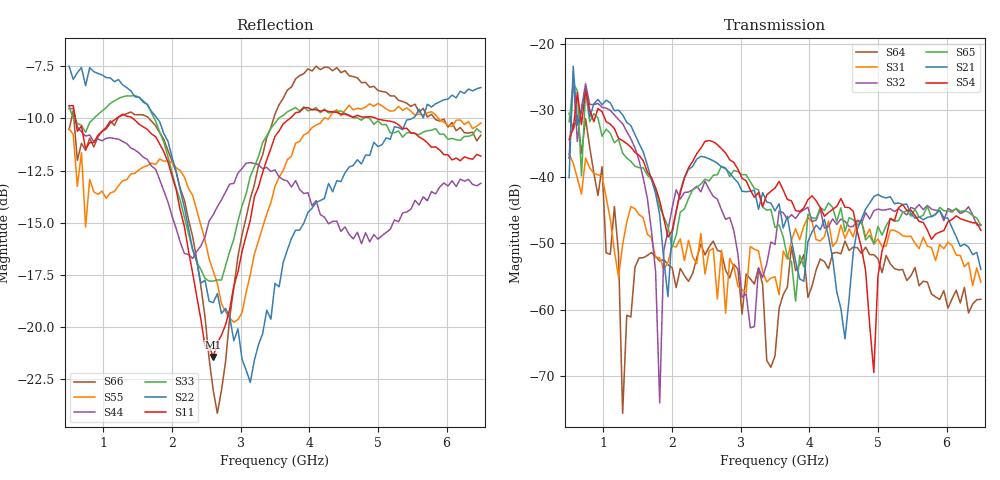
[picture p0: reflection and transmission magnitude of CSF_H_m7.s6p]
!Keysight Technologies,M9804A,MY58100912,A.14.10.03
!Date: Thursday, April 27, 2023 10:28:33
!Correction: S11(C  6-Port  )
!S12(C  6-Port  )
!S13(C  6-Port  )
!S14(C  6-Port  )
!S15(C  6-Port  )
!S16(C  6-Port  )
!S21(C  6-Port  )
!S22(C  6-Port  )
!S23(C  6-Port  )
!S24(C  6-Port  )
!S25(C  6-Port  )
!S26(C  6-Port  )
!S31(C  6-Port  )
!S32(C  6-Port  )
!S33(C  6-Port  )
!S34(C  6-Port  )
!S35(C  6-Port  )
!S36(C  6-Port  )
!S41(C  6-Port  )
!S42(C  6-Port  )
!S43(C  6-Port  )
!S44(C  6-Port  )
!S45(C  6-Port  )
!S46(C  6-Port  )
!S51(C  6-Port  )
!S52(C  6-Port  )
!S53(C  6-Port  )
!S54(C  6-Port  )
!S55(C  6-Port  )
!S56(C  6-Port  )
!S61(C  6-Port  )
!S62(C  6-Port  )
!S63(C  6-Port  )
!S64(C  6-Port  )
!S65(C  6-Port  )
!S66(C  6-Port  )
!S6P File: Measurement: :
# Hz S  RI  R 50
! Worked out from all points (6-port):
!   101 points, 500 MHz to 6.5 GHz, reference 50 ohm
!   strongest paths, dB at 500 MHz, 2 GHz, 3.5 GHz, 5 GHz, 6.5 GHz:
!     S54: -34.4, -48.1, -41.7, -55.0, -48.1
!     S21: -40.2, -48.6, -45.1, -42.7, -53.9
!     S65: -31.8, -50.6, -47.6, -47.5, -47.3
!     S32: -37.2, -44.8, -50.2, -44.9, -47.2
!     S31: -36.6, -50.4, -55.0, -49.3, -55.9
!     S64: -30.5, -53.6, -66.9, -52.3, -58.4
!   lowest |S11| = -21.4 dB at 2.6 GHz (marker M1), VSWR 1.19, Z = 42.5 + j2.16 ohm
!   |S11| at or under -10 dB: 590 MHz to 1.192 GHz (602 MHz wide, 67.6 % of centre); 1.426 GHz to 3.717 GHz (2.291 GHz wide, 89.1 % of centre); 4.975 GHz to end of sweep
